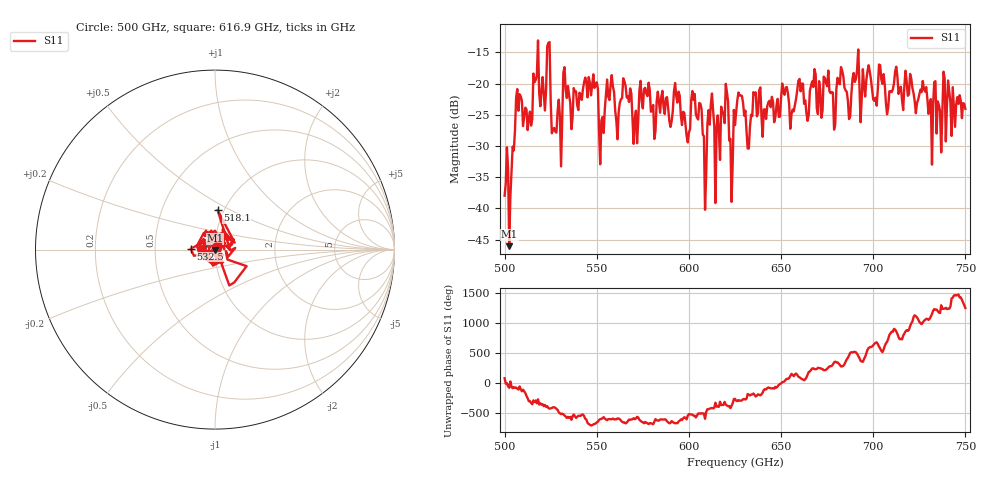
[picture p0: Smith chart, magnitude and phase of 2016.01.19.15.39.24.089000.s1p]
!Created with skrf (http://scikit-rf.org).
# GHz S RI R 50.0
!freq ReS11 ImS11
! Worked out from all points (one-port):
!   401 points, 500 GHz to 750 GHz, reference 50 ohm
!   lowest |S11| = -46.0 dB at 502.5 GHz (marker M1), VSWR 1.01, Z = 50.1 - j0.495 ohm
!   |S11| at or under -10 dB: start of sweep to end of sweep
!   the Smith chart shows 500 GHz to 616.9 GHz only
!   S11 on the Smith chart (normalised r, x): 500 GHz: 1.01, +0.02; 518.1 GHz: 0.93, +0.43; 532.5 GHz: 0.76, +0.01; 616.9 GHz: 1.03, +0.04
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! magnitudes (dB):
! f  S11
! 500 GHz  -38.0
! 502.5 GHz  -46.0
! 507.5 GHz  -24.3
! 513.8 GHz  -24.5
! 518.1 GHz  -13.1
! 523.8 GHz  -13.5
! 526.9 GHz  -27.1
! 531.2 GHz  -25.6
! 532.5 GHz  -17.4
! 549.4 GHz  -20.3
! 552.5 GHz  -25.9
! 556.9 GHz  -22.6
! 562.5 GHz  -23.1
! 593.8 GHz  -23.0
! 599.4 GHz  -29.4
! 605.6 GHz  -23.1
! 608.8 GHz  -40.2
! 611.9 GHz  -23.4
! 616.9 GHz  -32.2
! 620 GHz  -20.0
! 623.1 GHz  -38.9
! 625 GHz  -26.6
! 656.2 GHz  -24.2
! 667.5 GHz  -20.5
! 687.5 GHz  -25.3
! 690.6 GHz  -19.3
! 718.8 GHz  -21.9
! 750 GHz  -24.0
